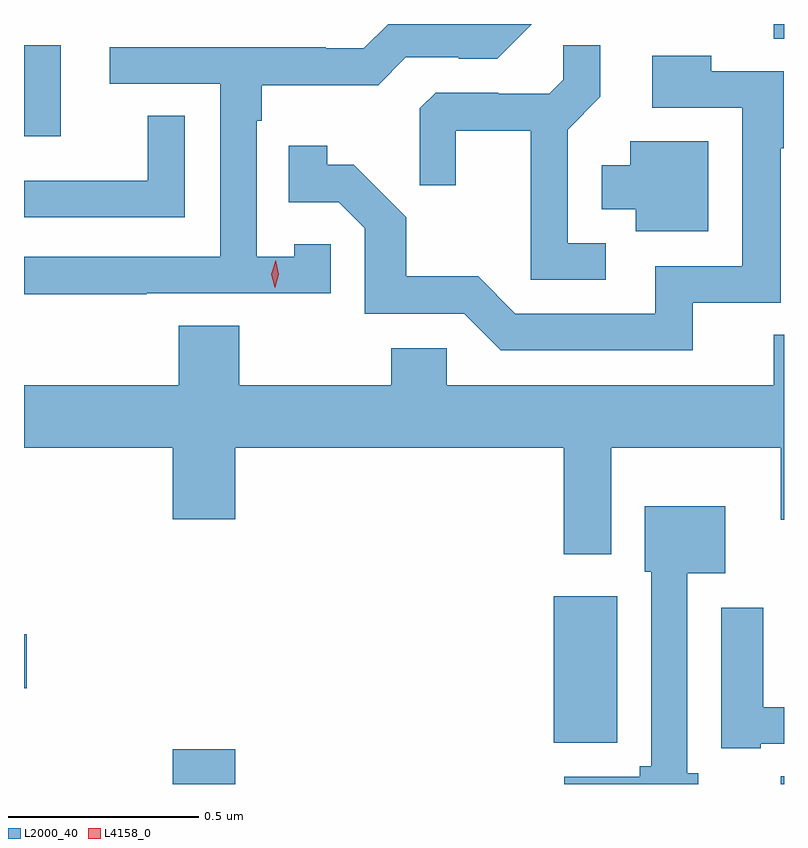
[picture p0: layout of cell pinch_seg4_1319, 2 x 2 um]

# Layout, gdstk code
import gdstk
lib = gdstk.Library(unit=1e-6, precision=1e-09)
def R(c, l, rs):  # rectangles x0, y0, x1, y1
    for r in rs: c.add(gdstk.rectangle(r[:2], r[2:], *l))
def P(c, l, *ps):  # polygons
    for p in ps: c.add(gdstk.Polygon(p, *l))
L2000_40 = (2000, 40)
L4158_0 = (4158, 0)

pinch_seg4_1319 = lib.new_cell('pinch_seg4_1319')
R(pinch_seg4_1319, L2000_40, [(356.816,778.619,356.98,778.711), (358.415,778.619,358.424,778.64), (357.818,778.727,357.985,779.113), (356.424,778.871,356.431,779.013), (356.424,780.324,356.521,780.563), (358.397,780.58,358.424,780.619)])
P(pinch_seg4_1319, L2000_40, [(356.747,779.91),(357.231,779.91),(357.231,780.039),(357.135,780.039),(357.135,780.007),(357.036,780.007),(357.036,780.365),(357.049,780.365),(357.049,780.458),(357.356,780.458),(357.429,780.531),(357.568,780.531),(357.568,780.528),(357.669,780.528),(357.76,780.619),(357.382,780.619),(357.318,780.555),(357.218,780.555),(357.218,780.558),(356.649,780.558),(356.649,780.462),(356.94,780.462),(356.94,780.006),(356.424,780.006),(356.424,779.908),(356.747,779.908)],
  [(357.955,780.042),(357.855,780.042),(357.855,780.341),(357.941,780.427),(357.941,780.563),(357.843,780.563),(357.843,780.472),(357.806,780.435),(357.672,780.435),(357.672,780.438),(357.507,780.438),(357.466,780.397),(357.466,780.195),(357.56,780.195),(357.56,780.338),(357.758,780.338),(357.758,779.946),(357.955,779.946)],
  [(358.184,779.886),(358.415,779.886),(358.415,780.292),(358.423,780.292),(358.423,780.495),(358.233,780.495),(358.233,780.535),(358.077,780.535),(358.077,780.399),(358.314,780.399),(358.314,779.982),(358.085,779.982),(358.085,779.856),(357.717,779.856),(357.619,779.955),(357.43,779.955),(357.43,780.11),(357.292,780.248),(357.222,780.248),(357.222,780.298),(357.121,780.298),(357.121,780.15),(357.252,780.15),(357.321,780.081),(357.321,779.856),(357.582,779.856),(357.678,779.76),(358.184,779.76)],
  [(356.847,780.377),(356.749,780.377),(356.749,780.207),(356.424,780.207),(356.424,780.111),(356.847,780.111)],
  [(358.225,780.31),(358.019,780.31),(358.019,780.247),(357.944,780.247),(357.944,780.131),(358.034,780.131),(358.034,780.074),(358.225,780.074)],
  [(357.97,779.504),(358.415,779.504),(358.415,779.315),(358.424,779.315),(358.424,779.801),(358.397,779.801),(358.397,779.668),(357.537,779.668),(357.537,779.766),(357.391,779.766),(357.391,779.668),(356.991,779.668),(356.991,779.825),(356.831,779.825),(356.831,779.668),(356.424,779.668),(356.424,779.504),(356.816,779.504),(356.816,779.316),(356.98,779.316),(356.98,779.504),(357.845,779.504),(357.845,779.223),(357.97,779.223)],
  [(358.198,778.647),(358.17,778.647),(358.17,779.174),(358.27,779.174),(358.27,779.35),(358.058,779.35),(358.058,779.178),(358.074,779.178),(358.074,778.666),(358.044,778.666),(358.044,778.638),(357.846,778.638),(357.846,778.619),(358.198,778.619)],
  [(358.363,778.725),(358.424,778.725),(358.424,778.821),(358.369,778.821),(358.369,779.083),(358.259,779.083),(358.259,778.713),(358.363,778.713)])
P(pinch_seg4_1319, L4158_0, [(357.085,779.925),(357.084,779.926),(357.075,779.961),(357.086,779.997),(357.086,779.997),(357.086,779.997),(357.095,779.961),(357.085,779.926)])

lib.write_gds('pinch_seg4_1319.gds')
